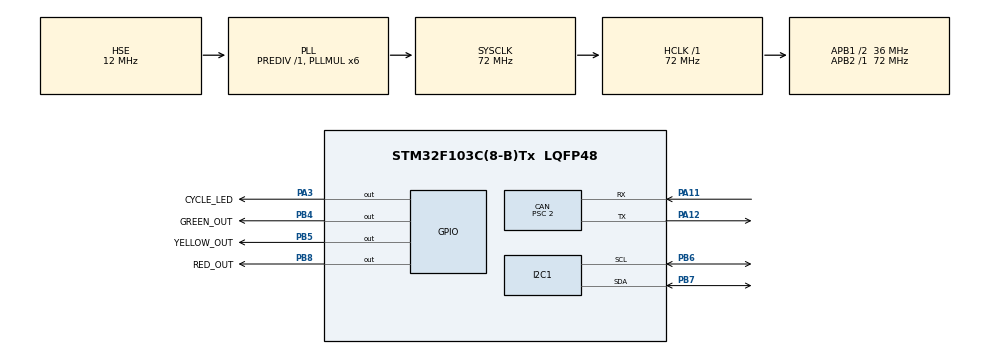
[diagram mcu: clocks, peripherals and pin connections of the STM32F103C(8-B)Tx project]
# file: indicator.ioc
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CAN.BS1=CAN_BS1_16TQ
CAN.CalculateBaudRate=1000000
CAN.CalculateTimeBit=1000
CAN.CalculateTimeQuantum=55.55555555555556
CAN.Prescaler=2
Mcu.Family=STM32F1
Mcu.Name=STM32F103C(8-B)Tx
Mcu.Package=LQFP48
NVIC.I2C1_ER_IRQn=true\:0\:0\:false\:false\:true\:true\:true\:true
NVIC.I2C1_EV_IRQn=true\:0\:0\:false\:false\:true\:true\:true\:true
NVIC.PriorityGroup=NVIC_PRIORITYGROUP_4
NVIC.USB_LP_CAN1_RX0_IRQn=true\:0\:0\:false\:false\:true\:true\:true\:true
PA11.Mode=CAN_Activate
PA11.Signal=CAN_RX
PA12.Mode=CAN_Activate
PA12.Signal=CAN_TX
PA13.Mode=Trace_Asynchronous_SW
PA13.Signal=SYS_JTMS-SWDIO
PA14.Mode=Trace_Asynchronous_SW
PA14.Signal=SYS_JTCK-SWCLK
PA3.GPIO_Label=CYCLE_LED
PA3.Signal=GPIO_Output
PB3.Mode=Trace_Asynchronous_SW
PB3.Signal=SYS_JTDO-TRACESWO
PB4.GPIO_Label=GREEN_OUT
PB4.Signal=GPIO_Output
PB5.GPIO_Label=YELLOW_OUT
PB5.Signal=GPIO_Output
PB6.Mode=I2C
PB6.Signal=I2C1_SCL
PB7.Mode=I2C
PB7.Signal=I2C1_SDA
PB8.GPIO_Label=RED_OUT
PB8.Signal=GPIO_Output
PD0-OSC_IN.Mode=HSE-External-Oscillator
PD0-OSC_IN.Signal=RCC_OSC_IN
PD1-OSC_OUT.Mode=HSE-External-Oscillator
PD1-OSC_OUT.Signal=RCC_OSC_OUT
ProjectManager.HeapSize=0x200
ProjectManager.StackSize=0x400
ProjectManager.TargetToolchain=STM32CubeIDE
RCC.AHBFreq_Value=72000000
RCC.APB1CLKDivider=RCC_HCLK_DIV2
RCC.APB1Freq_Value=36000000
RCC.APB1TimFreq_Value=72000000
RCC.APB2Freq_Value=72000000
RCC.APB2TimFreq_Value=72000000
RCC.HCLKFreq_Value=72000000
RCC.HSE_VALUE=12000000
RCC.PLLMUL=RCC_PLL_MUL6
RCC.PLLSourceVirtual=RCC_PLLSOURCE_HSE
RCC.SYSCLKFreq_VALUE=72000000
RCC.SYSCLKSource=RCC_SYSCLKSOURCE_PLLCLK
RCC.USBFreq_Value=72000000
board=custom

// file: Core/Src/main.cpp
/* USER CODE BEGIN Header */
/**
  ******************************************************************************
  * @file           : main.c
  * @brief          : Main program body
  ******************************************************************************
  * @attention
  *
  * Copyright (c) 2024 STMicroelectronics.
  * All rights reserved.
  *
  * This software is licensed under terms that can be found in the LICENSE file
  * in the root directory of this software component.
  * If no LICENSE file comes with this software, it is provided AS-IS.
  *
  ******************************************************************************
  */
/* USER CODE END Header */
#include "main.h"
#include "can.h"
#include "i2c.h"
#include "gpio.h"
#include "utils.h"
#include <cstdio>
#include <string.h>
#include "lcd_display.h"

void SystemClock_Config(void);

/* USER CODE BEGIN 0 */
LCD_Display *display_pointer;

/* USER CODE END 0 */

int main(void)
{

  /* MCU Configuration--------------------------------------------------------*/

  /* Reset of all peripherals, Initializes the Flash interface and the Systick. */
  HAL_Init();

  /* Configure the system clock */
  SystemClock_Config();

  /* Initialize all configured peripherals */
  MX_GPIO_Init();
  MX_CAN_Init();
  MX_I2C1_Init();
  /* USER CODE BEGIN 2 */

  // ユージング
  using namespace utils;

  // 基底
  const int control_ms = 2;
  const int debug_ms = 100;
  uint32_t time = 0;
  uint32_t time_debug = 0;

  uint16_t board_id = 0;
  int error = 0;

  // CAN通信
  CAN_FilterTypeDef filter;
  uint32_t fId1   =  0x000 << 5;
  uint32_t fMask1 = (0x7F0 << 5) | 0x8; // 0x000~0x00F
  uint32_t fId2   =  0x500 << 5;
  uint32_t fMask2 = (0x700 << 5) | 0x8; // 0x500~0x5FF
  filter.FilterIdHigh         = fId1;
  filter.FilterIdLow          = fId2;
  filter.FilterMaskIdHigh     = fMask1;
  filter.FilterMaskIdLow      = fMask2;
  filter.FilterScale          = CAN_FILTERSCALE_16BIT; // 16モード
  filter.FilterFIFOAssignment = CAN_FILTER_FIFO0;
  filter.FilterBank           = 0;
  filter.FilterMode           = CAN_FILTERMODE_IDMASK;
  filter.SlaveStartFilterBank = 14;
  filter.FilterActivation     = ENABLE;

  HAL_CAN_ConfigFilter(&hcan, &filter);

  HAL_CAN_Start(&hcan);
  HAL_CAN_ActivateNotification(&hcan, CAN_IT_RX_FIFO0_MSG_PENDING);
  printf("CAN INIT\n");

  LCD_Display display(hi2c1);
  printf("LCD DISPLAY setup : %d\n", display.setup());

  display_pointer = &display;

  /* USER CODE END 2 */

  /* Infinite loop */
  /* USER CODE BEGIN WHILE */
  while (1)
  {
    if(HAL_GetTick() - time > control_ms){
        time = HAL_GetTick();

        if(HAL_GetTick() - time_debug > debug_ms){
            time_debug = HAL_GetTick();
            HAL_GPIO_TogglePin(CYCLE_LED_GPIO_Port, CYCLE_LED_Pin);
            display.cycle();
        }
      }
    /* USER CODE END WHILE */

  }
}

void SystemClock_Config(void)
{
  RCC_OscInitTypeDef RCC_OscInitStruct = {0};
  RCC_ClkInitTypeDef RCC_ClkInitStruct = {0};

  /** Initializes the RCC Oscillators according to the specified parameters
  * in the RCC_OscInitTypeDef structure.
  */
  RCC_OscInitStruct.OscillatorType = RCC_OSCILLATORTYPE_HSE;
  RCC_OscInitStruct.HSEState = RCC_HSE_ON;
  RCC_OscInitStruct.HSEPredivValue = RCC_HSE_PREDIV_DIV1;
  RCC_OscInitStruct.HSIState = RCC_HSI_ON;
  RCC_OscInitStruct.PLL.PLLState = RCC_PLL_ON;
  RCC_OscInitStruct.PLL.PLLSource = RCC_PLLSOURCE_HSE;
  RCC_OscInitStruct.PLL.PLLMUL = RCC_PLL_MUL6;
  if (HAL_RCC_OscConfig(&RCC_OscInitStruct) != HAL_OK)
  {
    Error_Handler();
  }

  /** Initializes the CPU, AHB and APB buses clocks
  */
  RCC_ClkInitStruct.ClockType = RCC_CLOCKTYPE_HCLK|RCC_CLOCKTYPE_SYSCLK
                              |RCC_CLOCKTYPE_PCLK1|RCC_CLOCKTYPE_PCLK2;
  RCC_ClkInitStruct.SYSCLKSource = RCC_SYSCLKSOURCE_PLLCLK;
  RCC_ClkInitStruct.AHBCLKDivider = RCC_SYSCLK_DIV1;
  RCC_ClkInitStruct.APB1CLKDivider = RCC_HCLK_DIV2;
  RCC_ClkInitStruct.APB2CLKDivider = RCC_HCLK_DIV1;

  if (HAL_RCC_ClockConfig(&RCC_ClkInitStruct, FLASH_LATENCY_2) != HAL_OK)
  {
    Error_Handler();
  }
}

/* USER CODE BEGIN 4 */
// printf関数
extern "C" {
int _write(int file, char *ptr, int len){
  int DataIdx;
  for(DataIdx=0; DataIdx<len; DataIdx++){
    ITM_SendChar(*ptr++);
  }
  return len;
}
}

// CANコールバック
void HAL_CAN_RxFifo0MsgPendingCallback(CAN_HandleTypeDef *hcan){
    CAN_RxHeaderTypeDef RxHeader;
    uint8_t rxdata[8];
    if (HAL_CAN_GetRxMessage(hcan, CAN_RX_FIFO0, &RxHeader, rxdata) == HAL_OK){
        const uint32_t id = (RxHeader.IDE == CAN_ID_STD)? RxHeader.StdId : RxHeader.ExtId;     // ID
        const uint32_t dlc = RxHeader.DLC;

        // 緊急停止情報
        if(id == 0x00F){
            if(rxdata[0]){
                HAL_GPIO_WritePin(RED_OUT_GPIO_Port, RED_OUT_Pin, GPIO_PIN_SET);
                display_pointer->write(0x000);
            }
            else{
                HAL_GPIO_WritePin(RED_OUT_GPIO_Port, RED_OUT_Pin, GPIO_PIN_RESET);
                display_pointer->write(0x001);
            }
        }
        else if(id == 0x000){
            display_pointer->write(0x002);
        }
        else if(id == 0x001){
            display_pointer->write(0x003);
        }

        // 基幹情報
        else if(id == 0x501){
            HAL_GPIO_WritePin(YELLOW_OUT_GPIO_Port, YELLOW_OUT_Pin, GPIO_PIN_SET);
            HAL_GPIO_WritePin(GREEN_OUT_GPIO_Port, GREEN_OUT_Pin, GPIO_PIN_RESET);
        }
        else if(id == 0x502){
            HAL_GPIO_WritePin(GREEN_OUT_GPIO_Port, GREEN_OUT_Pin, GPIO_PIN_SET);
            HAL_GPIO_WritePin(YELLOW_OUT_GPIO_Port, YELLOW_OUT_Pin, GPIO_PIN_RESET);
        }

        // 表示機能のIDなら直接ディスプレイ表記する
        if(((id >> 8) & 0xF) == 0x5){
            display_pointer->write(id);
        }

        // printf("ID %03X\n", id);
    }
}

/* USER CODE END 4 */

void Error_Handler(void)
{
  __disable_irq();
  while (1)
  {
  }
}
